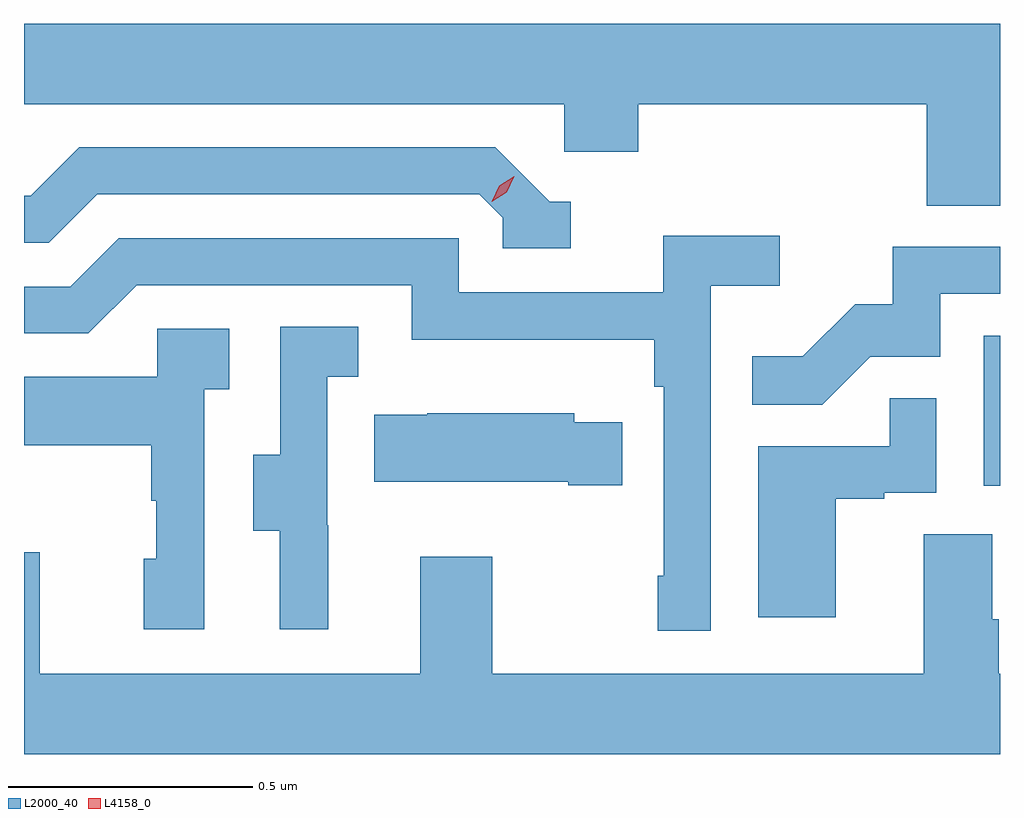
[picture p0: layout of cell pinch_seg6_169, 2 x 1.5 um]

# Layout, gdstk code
import gdstk
lib = gdstk.Library(unit=1e-6, precision=1e-09)
def R(c, l, rs):  # rectangles x0, y0, x1, y1
    for r in rs: c.add(gdstk.rectangle(r[:2], r[2:], *l))
def P(c, l, *ps):  # polygons
    for p in ps: c.add(gdstk.Polygon(p, *l))
L2000_40 = (2000, 40)
L4158_0 = (4158, 0)

pinch_seg6_169 = lib.new_cell('pinch_seg6_169')
R(pinch_seg6_169, L2000_40, [(1039.598,939.894,1039.631,940.201)])
P(pinch_seg6_169, L2000_40, [(1039.631,940.84),(1037.631,940.84),(1037.631,940.676),(1038.738,940.676),(1038.738,940.578),(1038.89,940.578),(1038.89,940.676),(1039.481,940.676),(1039.481,940.468),(1039.631,940.468)],
  [(1038.751,940.476),(1038.708,940.476),(1038.597,940.587),(1037.744,940.587),(1037.645,940.488),(1037.631,940.488),(1037.631,940.392),(1037.682,940.392),(1037.781,940.491),(1038.564,940.491),(1038.612,940.443),(1038.612,940.38),(1038.751,940.38)],
  [(1039.038,940.304),(1039.18,940.304),(1039.18,940.406),(1038.941,940.406),(1038.941,940.29),(1038.522,940.29),(1038.522,940.401),(1037.825,940.401),(1037.726,940.302),(1037.631,940.302),(1037.631,940.206),(1037.763,940.206),(1037.862,940.305),(1038.426,940.305),(1038.426,940.193),(1038.922,940.193),(1038.922,940.097),(1038.942,940.097),(1038.942,939.709),(1038.93,939.709),(1038.93,939.597),(1039.038,939.597)],
  [(1039.365,940.158),(1039.509,940.158),(1039.509,940.287),(1039.631,940.287),(1039.631,940.383),(1039.411,940.383),(1039.411,940.266),(1039.334,940.266),(1039.227,940.159),(1039.123,940.159),(1039.123,940.06),(1039.267,940.06)],
  [(1038.254,939.813),(1038.252,939.813),(1038.252,940.117),(1038.316,940.117),(1038.316,940.22),(1038.156,940.22),(1038.156,939.957),(1038.101,939.957),(1038.101,939.802),(1038.155,939.802),(1038.155,939.6),(1038.254,939.6)],
  [(1038,940.091),(1038.052,940.091),(1038.052,940.215),(1037.904,940.215),(1037.904,940.117),(1037.631,940.117),(1037.631,939.977),(1037.892,939.977),(1037.892,939.863),(1037.902,939.863),(1037.902,939.744),(1037.876,939.744),(1037.876,939.6),(1038,939.6)],
  [(1039.294,939.867),(1039.394,939.867),(1039.394,939.879),(1039.5,939.879),(1039.5,940.073),(1039.405,940.073),(1039.405,939.975),(1039.136,939.975),(1039.136,939.624),(1039.294,939.624)],
  [(1038.857,940.024),(1038.759,940.024),(1038.759,940.042),(1038.457,940.042),(1038.457,940.039),(1038.349,940.039),(1038.349,939.902),(1038.746,939.902),(1038.746,939.895),(1038.857,939.895)],
  [(1039.631,939.508),(1039.628,939.508),(1039.628,939.62),(1039.615,939.62),(1039.615,939.794),(1039.475,939.794),(1039.475,939.508),(1038.591,939.508),(1038.591,939.748),(1038.443,939.748),(1038.443,939.508),(1037.663,939.508),(1037.663,939.757),(1037.631,939.757),(1037.631,939.344),(1039.631,939.344)])
P(pinch_seg6_169, L4158_0, [(1038.589,940.476),(1038.589,940.476),(1038.605,940.509),(1038.636,940.528),(1038.636,940.528),(1038.636,940.528),(1038.62,940.495),(1038.589,940.476)])

lib.write_gds('pinch_seg6_169.gds')
